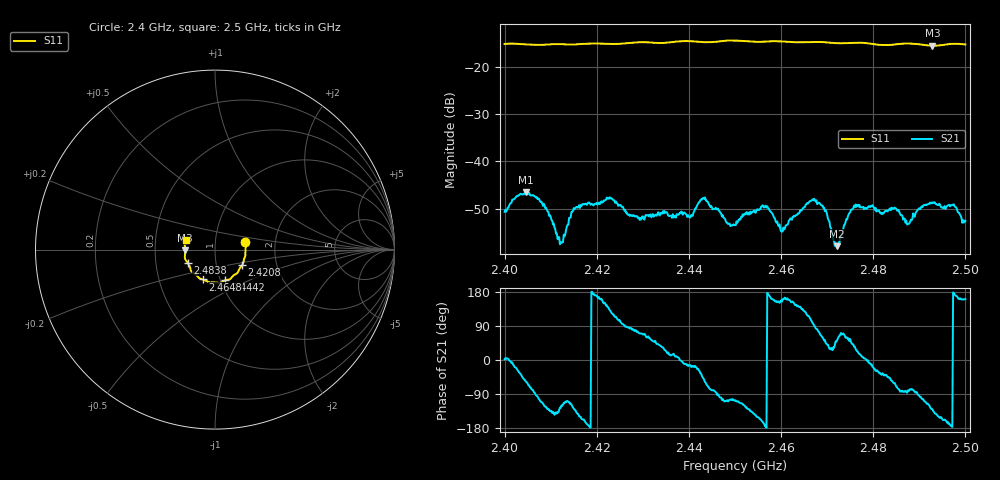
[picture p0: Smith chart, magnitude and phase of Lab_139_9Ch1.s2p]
# Hz S RI R 50
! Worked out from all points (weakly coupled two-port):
!   601 points, 2.4 GHz to 2.5 GHz, reference 50 ohm
!   highest |S21| = -46.51 dB at 2.4047 GHz (marker M1); lowest = -57.8 dB at 2.4722 GHz (marker M2)
!   lowest |S11| = -15.6 dB at 2.4928 GHz (marker M3), VSWR 1.40, Z = 35.8 - j0.366 ohm
!   |S11| at or under -10 dB: start of sweep to end of sweep
!   S12 and S22 are empty: the file has one direction only
!   S11 on the Smith chart (normalised r, x): 2.4 GHz: 1.40, +0.12; 2.4208 GHz: 1.33, -0.24; 2.4442 GHz: 1.05, -0.37; 2.4648 GHz: 0.83, -0.28; 2.4838 GHz: 0.73, -0.11; 2.5 GHz: 0.72, +0.08
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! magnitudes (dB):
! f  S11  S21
! 2.4 GHz  -15.2  -50.6
! 2.4047 GHz  -15.4  -46.5
! 2.409 GHz  -15.4  -49.8
! 2.4122 GHz  -15.3  -57.0
! 2.4167 GHz  -15.2  -49.4
! 2.4208 GHz  -15.2  -48.6
! 2.4333 GHz  -15.0  -50.7
! 2.4402 GHz  -14.6  -51.8
! 2.4442 GHz  -14.9  -48.6
! 2.45 GHz  -14.5  -53.4
! 2.4565 GHz  -14.8  -49.4
! 2.4603 GHz  -14.7  -54.8
! 2.4648 GHz  -14.9  -49.7
! 2.4667 GHz  -14.8  -48.2
! 2.4695 GHz  -14.9  -50.5
! 2.4722 GHz  -15.1  -57.8
! 2.4762 GHz  -15.0  -49.1
! 2.4833 GHz  -15.5  -50.1
! 2.4838 GHz  -15.4  -50.3
! 2.4875 GHz  -15.2  -53.3
! 2.4928 GHz  -15.6  -48.8
! 2.5 GHz  -15.3  -52.5
